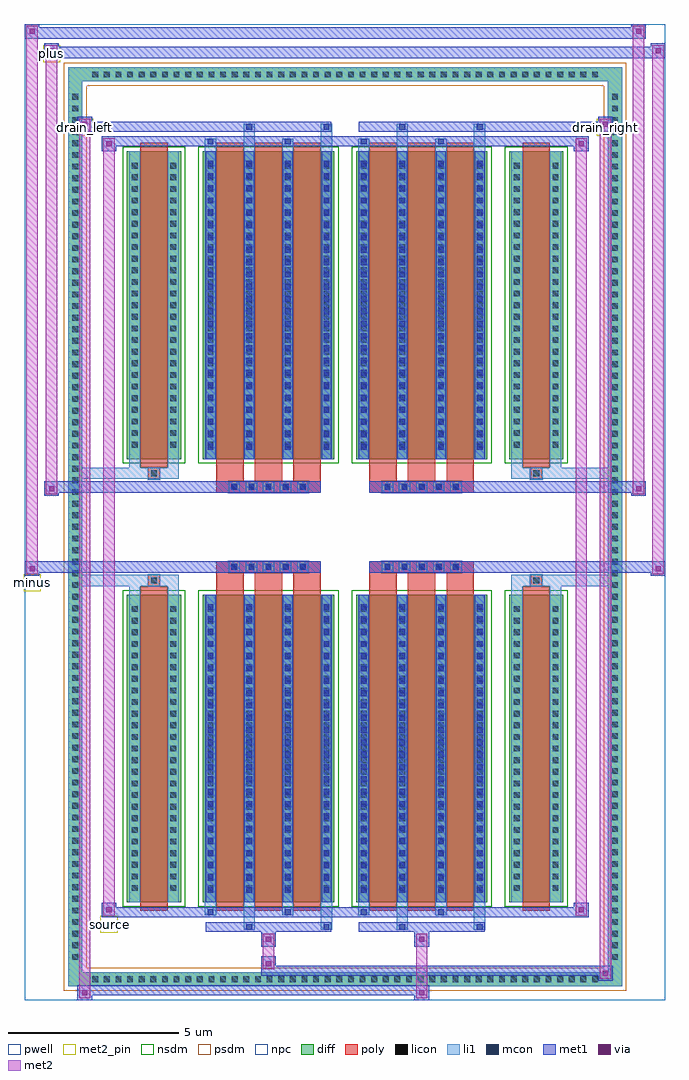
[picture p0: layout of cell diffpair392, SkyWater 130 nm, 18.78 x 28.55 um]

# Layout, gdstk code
import gdstk
lib = gdstk.Library(unit=1e-6, precision=5e-09)
def R(c, l, rs):  # rectangles x0, y0, x1, y1
    for r in rs: c.add(gdstk.rectangle(r[:2], r[2:], *l))
def A(c, l, x, y, w, h, nx, ny, dx, dy):  # array of equal rectangles
    R(c, l, [(x+i*dx, y+j*dy, x+i*dx+w, y+j*dy+h) for i in range(nx) for j in range(ny)])
def P(c, l, *ps):  # polygons
    for p in ps: c.add(gdstk.Polygon(p, *l))
pwell = (64, 44)
diff = (65, 20)
poly = (66, 20)
licon = (66, 44)
li1 = (67, 20)
mcon = (67, 44)
met1 = (68, 20)
via = (68, 44)
met2_pin = (69, 16)
met2 = (69, 20)
nsdm = (93, 44)
psdm = (94, 20)
npc = (95, 20)

diffpair392 = lib.new_cell('diffpair392')
R(diffpair392, pwell, [(-9.37,-13.84,9.37,14.71), (-6.69,-12.03,-0.01,-0.805), (0.01,-12.03,6.69,-0.805), (-6.69,0.805,-0.01,12.03), (0.01,0.805,6.69,12.03)])
A(diffpair392, diff, -7.515, -13.44, 0.41, 0.41, 44, 2, 0.34, 26.47)
A(diffpair392, diff, -8.1, -12.785, 0.41, 0.41, 1, 75, 0, 0.34)
A(diffpair392, diff, 7.69, -12.785, 0.41, 0.41, 1, 75, 0, 0.34)
R(diffpair392, diff, [(-7.515,-13.44,7.515,-13.03), (-8.1,-12.785,-7.69,12.785), (7.69,-12.785,8.1,12.785), (-6.38,-10.985,-4.8,-1.985), (-4.16,-10.985,-0.32,-1.985), (0.32,-10.985,4.16,-1.985), (4.8,-10.985,6.38,-1.985), (-6.38,1.985,-4.8,10.985), (-4.16,1.985,-0.32,10.985), (0.32,1.985,4.16,10.985), (4.8,1.985,6.38,10.985), (-7.515,13.03,7.515,13.44)])
P(diffpair392, diff, [(8.1,13.44),(-8.1,13.44),(-8.1,-13.03),(-7.69,-13.03),(-7.69,13.03),(7.69,13.03),(7.69,-13.03),(-7.69,-13.03),(-8.1,-13.03),(-8.1,-13.44),(8.1,-13.44)])
A(diffpair392, poly, -3.77, -11.235, 0.8, 9.5, 3, 2, 1.13, 12.97)
A(diffpair392, poly, 0.71, -11.235, 0.8, 9.5, 3, 2, 1.13, 12.97)
A(diffpair392, poly, -3.77, -1.735, 0.8, 0.4, 3, 2, 1.13, 3.07)
A(diffpair392, poly, 0.71, -1.735, 0.8, 0.4, 3, 2, 1.13, 3.07)
A(diffpair392, poly, -3.405, -1.335, 0.33, 0.33, 5, 2, 0.5, 2.34)
A(diffpair392, poly, 1.075, -1.335, 0.33, 0.33, 5, 2, 0.5, 2.34)
R(diffpair392, poly, [(-5.99,-11.235,-5.19,-1.735), (5.19,-11.235,5.99,-1.735), (-5.755,-1.735,-5.425,-1.405), (-5.755,-1.735,-5.425,-1.405), (5.425,-1.735,5.755,-1.405), (5.425,-1.735,5.755,-1.405), (-3.77,-1.335,-0.71,-1.005), (0.71,-1.335,3.77,-1.005), (-3.77,1.005,-0.71,1.335), (0.71,1.005,3.77,1.335), (-5.755,1.405,-5.425,1.735), (-5.755,1.405,-5.425,1.735), (5.425,1.405,5.755,1.735), (5.425,1.405,5.755,1.735), (-5.99,1.735,-5.19,11.235), (5.19,1.735,5.99,11.235)])
A(diffpair392, licon, -7.395, -13.32, 0.17, 0.17, 44, 2, 0.34, 26.47)
A(diffpair392, licon, -7.98, -12.665, 0.17, 0.17, 1, 75, 0, 0.34)
A(diffpair392, licon, 7.81, -12.665, 0.17, 0.17, 1, 75, 0, 0.34)
A(diffpair392, licon, -6.24, -10.65, 0.17, 0.17, 1, 25, 0, 0.34)
A(diffpair392, licon, -5.11, -10.65, 0.17, 0.17, 1, 25, 0, 0.34)
A(diffpair392, licon, -4.02, -10.65, 0.17, 0.17, 4, 25, 1.13, 0.34)
A(diffpair392, licon, 0.46, -10.65, 0.17, 0.17, 4, 25, 1.13, 0.34)
A(diffpair392, licon, 4.94, -10.65, 0.17, 0.17, 1, 25, 0, 0.34)
A(diffpair392, licon, 6.07, -10.65, 0.17, 0.17, 1, 25, 0, 0.34)
A(diffpair392, licon, -3.325, -1.255, 0.17, 0.17, 5, 2, 0.5, 2.34)
A(diffpair392, licon, 1.155, -1.255, 0.17, 0.17, 5, 2, 0.5, 2.34)
A(diffpair392, licon, -6.24, 2.32, 0.17, 0.17, 1, 25, 0, 0.34)
A(diffpair392, licon, -5.11, 2.32, 0.17, 0.17, 1, 25, 0, 0.34)
A(diffpair392, licon, -4.02, 2.32, 0.17, 0.17, 4, 25, 1.13, 0.34)
A(diffpair392, licon, 0.46, 2.32, 0.17, 0.17, 4, 25, 1.13, 0.34)
A(diffpair392, licon, 4.94, 2.32, 0.17, 0.17, 1, 25, 0, 0.34)
A(diffpair392, licon, 6.07, 2.32, 0.17, 0.17, 1, 25, 0, 0.34)
R(diffpair392, licon, [(-5.675,-1.655,-5.505,-1.485), (5.505,-1.655,5.675,-1.485), (-5.675,1.485,-5.505,1.655), (5.505,1.485,5.675,1.655)])
A(diffpair392, li1, -7.475, -13.4, 0.33, 0.33, 44, 2, 0.34, 26.47)
A(diffpair392, li1, -8.06, -12.745, 0.33, 0.33, 1, 75, 0, 0.34)
A(diffpair392, li1, 7.73, -12.745, 0.33, 0.33, 1, 75, 0, 0.34)
A(diffpair392, li1, -4.1, -10.985, 0.33, 9, 4, 2, 1.13, 12.97)
A(diffpair392, li1, 0.38, -10.985, 0.33, 9, 4, 2, 1.13, 12.97)
A(diffpair392, li1, -6.32, -10.73, 0.33, 0.33, 1, 25, 0, 0.34)
A(diffpair392, li1, -5.19, -10.73, 0.33, 0.33, 1, 25, 0, 0.34)
A(diffpair392, li1, -4.1, -10.73, 0.33, 0.33, 4, 25, 1.13, 0.34)
A(diffpair392, li1, 0.38, -10.73, 0.33, 0.33, 4, 25, 1.13, 0.34)
A(diffpair392, li1, 4.86, -10.73, 0.33, 0.33, 1, 25, 0, 0.34)
A(diffpair392, li1, 5.99, -10.73, 0.33, 0.33, 1, 25, 0, 0.34)
A(diffpair392, li1, -4.02, -10.71, 0.17, 0.17, 4, 24, 1.13, 0.36)
A(diffpair392, li1, -4.02, -10.71, 0.17, 8.45, 4, 2, 1.13, 12.97)
A(diffpair392, li1, 0.46, -10.71, 0.17, 0.17, 4, 24, 1.13, 0.36)
A(diffpair392, li1, 0.46, -10.71, 0.17, 8.45, 4, 2, 1.13, 12.97)
A(diffpair392, li1, -3.405, -1.335, 0.33, 0.33, 5, 2, 0.5, 2.34)
A(diffpair392, li1, 1.075, -1.335, 0.33, 0.33, 5, 2, 0.5, 2.34)
A(diffpair392, li1, -6.32, 2.24, 0.33, 0.33, 1, 25, 0, 0.34)
A(diffpair392, li1, -5.19, 2.24, 0.33, 0.33, 1, 25, 0, 0.34)
A(diffpair392, li1, -4.1, 2.24, 0.33, 0.33, 4, 25, 1.13, 0.34)
A(diffpair392, li1, 0.38, 2.24, 0.33, 0.33, 4, 25, 1.13, 0.34)
A(diffpair392, li1, 4.86, 2.24, 0.33, 0.33, 1, 25, 0, 0.34)
A(diffpair392, li1, 5.99, 2.24, 0.33, 0.33, 1, 25, 0, 0.34)
A(diffpair392, li1, -4.02, 2.26, 0.17, 0.17, 4, 24, 1.13, 0.36)
A(diffpair392, li1, 0.46, 2.26, 0.17, 0.17, 4, 24, 1.13, 0.36)
R(diffpair392, li1, [(-8.1,-13.44,-7.69,-13.03), (-8.1,-13.44,-7.69,-13.03), (-7.69,-13.44,7.69,-13.03), (7.69,-13.44,8.1,-13.03), (7.69,-13.44,8.1,-13.03), (-8.1,-13.03,-7.69,13.03), (7.69,-13.03,8.1,13.03), (-2.97,-11.79,-2.64,-10.985), (-2.89,-11.79,-2.72,-11.62), (-0.71,-11.79,-0.38,-10.985), (-0.63,-11.79,-0.46,-11.62), (1.51,-11.79,1.84,-10.985), (1.59,-11.79,1.76,-11.62), (3.77,-11.79,4.1,-10.985), (3.85,-11.79,4.02,-11.62), (-4.1,-11.36,-3.77,-10.985), (-4.02,-11.36,-3.85,-11.19), (-1.84,-11.36,-1.51,-10.985), (-1.76,-11.36,-1.59,-11.19), (0.38,-11.36,0.71,-10.985), (0.46,-11.36,0.63,-11.19), (2.64,-11.36,2.97,-10.985), (2.72,-11.36,2.89,-11.19), (-6.32,-10.985,-5.99,-1.985), (-5.19,-10.985,-4.86,-1.985), (4.86,-10.985,5.19,-1.985), (5.99,-10.985,6.32,-1.985), (-6.32,-1.985,-5.99,-1.405), (-5.19,-1.985,-4.86,-1.405), (4.86,-1.985,5.19,-1.405), (5.99,-1.985,6.32,-1.405), (-8.1,-1.735,-5.755,-1.405), (-6.32,-1.735,-5.755,-1.405), (-5.755,-1.735,-5.425,-1.405), (-5.425,-1.735,-4.86,-1.405), (4.86,-1.735,5.425,-1.405), (5.425,-1.735,5.755,-1.405), (5.425,-1.735,8.1,-1.405), (5.755,-1.735,6.32,-1.405), (-8.1,1.405,-5.755,1.735), (-6.32,1.405,-5.755,1.735), (-6.32,1.405,-5.99,1.985), (-5.755,1.405,-5.425,1.735), (-5.425,1.405,-4.86,1.735), (-5.19,1.405,-4.86,1.985), (4.86,1.405,5.425,1.735), (4.86,1.405,5.19,1.985), (5.425,1.405,5.755,1.735), (5.425,1.405,8.1,1.735), (5.755,1.405,6.32,1.735), (5.99,1.405,6.32,1.985), (-6.32,1.985,-5.99,10.985), (-5.19,1.985,-4.86,10.985), (4.86,1.985,5.19,10.985), (5.99,1.985,6.32,10.985), (-4.1,10.985,-3.77,11.36), (-2.97,10.985,-2.64,11.79), (-1.84,10.985,-1.51,11.36), (-0.71,10.985,-0.38,11.79), (0.38,10.985,0.71,11.36), (1.51,10.985,1.84,11.79), (2.64,10.985,2.97,11.36), (3.77,10.985,4.1,11.79), (-4.02,11.19,-3.85,11.36), (-1.76,11.19,-1.59,11.36), (0.46,11.19,0.63,11.36), (2.72,11.19,2.89,11.36), (-2.89,11.62,-2.72,11.79), (-0.63,11.62,-0.46,11.79), (1.59,11.62,1.76,11.79), (3.85,11.62,4.02,11.79), (-8.1,13.03,-7.69,13.44), (-8.1,13.03,-7.69,13.44), (-7.69,13.03,7.69,13.44), (7.69,13.03,8.1,13.44), (7.69,13.03,8.1,13.44)])
A(diffpair392, mcon, -4.02, -10.71, 0.17, 0.17, 4, 24, 1.13, 0.36)
A(diffpair392, mcon, 0.46, -10.71, 0.17, 0.17, 4, 24, 1.13, 0.36)
A(diffpair392, mcon, -3.325, -1.255, 0.17, 0.17, 5, 2, 0.5, 2.34)
A(diffpair392, mcon, 1.155, -1.255, 0.17, 0.17, 5, 2, 0.5, 2.34)
A(diffpair392, mcon, -4.02, 2.26, 0.17, 0.17, 4, 24, 1.13, 0.36)
A(diffpair392, mcon, 0.46, 2.26, 0.17, 0.17, 4, 24, 1.13, 0.36)
R(diffpair392, mcon, [(-2.89,-11.79,-2.72,-11.62), (-0.63,-11.79,-0.46,-11.62), (1.59,-11.79,1.76,-11.62), (3.85,-11.79,4.02,-11.62), (-4.02,-11.36,-3.85,-11.19), (-1.76,-11.36,-1.59,-11.19), (0.46,-11.36,0.63,-11.19), (2.72,-11.36,2.89,-11.19), (-4.02,11.19,-3.85,11.36), (-1.76,11.19,-1.59,11.36), (0.46,11.19,0.63,11.36), (2.72,11.19,2.89,11.36), (-2.89,11.62,-2.72,11.79), (-0.63,11.62,-0.46,11.79), (1.59,11.62,1.76,11.79), (3.85,11.62,4.02,11.79)])
A(diffpair392, met1, -4.08, -10.985, 0.29, 9, 4, 2, 1.13, 12.97)
A(diffpair392, met1, 0.4, -10.985, 0.29, 9, 4, 2, 1.13, 12.97)
A(diffpair392, met1, -4.08, -10.77, 0.29, 0.29, 4, 24, 1.13, 0.36)
A(diffpair392, met1, 0.4, -10.77, 0.29, 0.29, 4, 24, 1.13, 0.36)
A(diffpair392, met1, -3.385, -1.315, 0.29, 0.29, 5, 2, 0.5, 2.34)
A(diffpair392, met1, 1.095, -1.315, 0.29, 0.29, 5, 2, 0.5, 2.34)
A(diffpair392, met1, -4.08, 2.2, 0.29, 0.29, 4, 24, 1.13, 0.36)
A(diffpair392, met1, 0.4, 2.2, 0.29, 0.29, 4, 24, 1.13, 0.36)
R(diffpair392, met1, [(-7.83,-13.84,-7.4,-13.41), (2.025,-13.84,2.455,-13.41), (-7.83,-13.7,2.455,-13.41), (7.4,-13.27,7.83,-12.84), (-2.455,-13.13,7.83,-12.84), (-2.455,-12.99,-2.025,-12.56), (-2.455,-12.28,-2.025,-11.85), (2.025,-12.28,2.455,-11.85), (-4.08,-11.85,-0.4,-11.56), (-2.95,-11.85,-2.66,-11.56), (-0.69,-11.85,-0.4,-11.56), (0.4,-11.85,4.08,-11.56), (1.53,-11.85,1.82,-11.56), (3.79,-11.85,4.08,-11.56), (-7.12,-11.42,-6.69,-10.99), (-7.12,-11.42,-4.08,-11.13), (-4.08,-11.42,-3.79,-11.13), (-4.08,-11.42,-0.4,-11.13), (-1.82,-11.42,-1.53,-11.13), (-0.4,-11.42,0.4,-11.13), (0.4,-11.42,0.69,-11.13), (0.4,-11.42,4.08,-11.13), (2.66,-11.42,2.95,-11.13), (4.08,-11.42,7.12,-11.13), (6.69,-11.42,7.12,-10.99), (-9.37,-1.435,-8.94,-1.005), (8.94,-1.435,9.37,-1.005), (-9.37,-1.335,-0.71,-1.005), (-3.77,-1.335,-0.71,-1.005), (0.71,-1.335,3.77,-1.005), (0.71,-1.335,9.37,-1.005), (-8.8,0.905,-8.37,1.335), (8.37,0.905,8.8,1.335), (-8.8,1.005,-3.77,1.335), (-3.77,1.005,-0.71,1.335), (0.71,1.005,3.77,1.335), (3.77,1.005,8.8,1.335), (-7.12,10.99,-6.69,11.42), (6.69,10.99,7.12,11.42), (-7.12,11.13,-4.08,11.42), (-4.08,11.13,-3.79,11.42), (-4.08,11.13,-0.4,11.42), (-1.82,11.13,-1.53,11.42), (-0.4,11.13,0.4,11.42), (0.4,11.13,0.69,11.42), (0.4,11.13,4.08,11.42), (2.66,11.13,2.95,11.42), (4.08,11.13,7.12,11.42), (-7.83,11.56,-7.4,11.99), (-7.83,11.56,-4.08,11.85), (-4.08,11.56,-0.4,11.85), (-2.95,11.56,-2.66,11.85), (-0.69,11.56,-0.4,11.85), (0.4,11.56,4.08,11.85), (1.53,11.56,1.82,11.85), (3.79,11.56,4.08,11.85), (4.08,11.56,7.83,11.85), (7.4,11.56,7.83,11.99), (-8.8,13.71,-8.37,14.14), (-8.8,13.71,-6.69,14.04), (-6.69,13.71,6.69,14.04), (6.69,13.71,9.37,14.04), (8.94,13.71,9.37,14.14), (-9.37,14.28,-8.94,14.71), (-9.37,14.28,-6.69,14.61), (-6.69,14.28,6.69,14.61), (6.69,14.28,8.8,14.61), (8.37,14.28,8.8,14.71)])
R(diffpair392, via, [(-7.69,-13.7,-7.54,-13.55), (2.165,-13.7,2.315,-13.55), (7.54,-13.13,7.69,-12.98), (-2.315,-12.85,-2.165,-12.7), (-2.315,-12.14,-2.165,-11.99), (2.165,-12.14,2.315,-11.99), (-6.98,-11.28,-6.83,-11.13), (6.83,-11.28,6.98,-11.13), (-9.23,-1.295,-9.08,-1.145), (9.08,-1.295,9.23,-1.145), (-8.66,1.045,-8.51,1.195), (8.51,1.045,8.66,1.195), (-6.98,11.13,-6.83,11.28), (6.83,11.13,6.98,11.28), (-7.69,11.7,-7.54,11.85), (7.54,11.7,7.69,11.85), (-8.66,13.85,-8.51,14), (9.08,13.85,9.23,14), (-9.23,14.42,-9.08,14.57), (8.51,14.42,8.66,14.57)])
R(diffpair392, met2_pin, [(-7.155,-11.87,-6.655,-11.37), (-9.405,-1.885,-8.905,-1.385), (-7.865,11.44,-7.365,11.94), (7.365,11.44,7.865,11.94), (-8.835,13.59,-8.335,14.09)])
R(diffpair392, met2, [(-7.78,-13.79,-7.45,-13.46), (-7.78,-13.79,-7.45,11.94), (2.075,-13.79,2.405,-13.46), (2.075,-13.46,2.405,-12.23), (7.45,-13.22,7.78,-12.89), (7.45,-13.22,7.78,11.94), (-2.405,-12.94,-2.075,-12.61), (-2.405,-12.61,-2.075,-12.23), (-2.405,-12.23,-2.075,-11.9), (2.075,-12.23,2.405,-11.9), (-7.07,-11.37,-6.74,-11.04), (-7.07,-11.37,-6.74,11.37), (6.74,-11.37,7.07,-11.04), (6.74,-11.37,7.07,11.37), (-9.32,-1.385,-8.99,-1.055), (-9.32,-1.385,-8.99,14.66), (8.99,-1.385,9.32,-1.055), (8.99,-1.385,9.32,14.09), (-8.75,0.955,-8.42,1.285), (-8.75,0.955,-8.42,14.09), (8.42,0.955,8.75,1.285), (8.42,0.955,8.75,14.66), (-7.07,11.04,-6.74,11.37), (6.74,11.04,7.07,11.37), (-7.78,11.61,-7.45,11.94), (7.45,11.61,7.78,11.94), (-8.75,13.76,-8.42,14.09), (8.99,13.76,9.32,14.09), (-9.32,14.33,-8.99,14.66), (8.42,14.33,8.75,14.66)])
P(diffpair392, met2, [(9.32,-1.385),(9.32,-1.385),(9.32,-1.055),(9.32,-1.055)],
  [(9.32,13.76),(9.32,13.76),(9.32,14.09),(9.32,14.09)],
  [(-8.99,-1.385),(-8.99,-1.385),(-8.99,-1.055),(-8.99,-1.055)],
  [(-8.99,14.33),(-8.99,14.33),(-8.99,14.66),(-8.99,14.66)],
  [(8.75,0.955),(8.75,0.955),(8.75,1.285),(8.75,1.285)],
  [(8.75,14.33),(8.75,14.33),(8.75,14.66),(8.75,14.66)],
  [(-8.42,0.955),(-8.42,0.955),(-8.42,1.285),(-8.42,1.285)],
  [(-8.42,13.76),(-8.42,13.76),(-8.42,14.09),(-8.42,14.09)],
  [(-7.45,-13.79),(-7.45,-13.79),(-7.45,-13.46),(-7.45,-13.46)],
  [(-7.45,11.61),(-7.45,11.61),(-7.45,11.94),(-7.45,11.94)],
  [(7.78,-13.22),(7.78,-13.22),(7.78,-12.89),(7.78,-12.89)],
  [(7.78,11.61),(7.78,11.61),(7.78,11.94),(7.78,11.94)],
  [(-6.74,-11.37),(-6.74,-11.37),(-6.74,-11.04),(-6.74,-11.04)],
  [(-6.74,11.04),(-6.74,11.04),(-6.74,11.37),(-6.74,11.37)],
  [(7.07,-11.37),(7.07,-11.37),(7.07,-11.04),(7.07,-11.04)],
  [(7.07,11.04),(7.07,11.04),(7.07,11.37),(7.07,11.37)])
R(diffpair392, nsdm, [(-6.51,-11.115,-4.67,-1.855), (-4.29,-11.115,-0.19,-1.855), (0.19,-11.115,4.29,-1.855), (4.67,-11.115,6.51,-1.855), (-6.51,1.855,-4.67,11.115), (-4.29,1.855,-0.19,11.115), (0.19,1.855,4.29,11.115), (4.67,1.855,6.51,11.115)])
P(diffpair392, psdm, [(8.23,13.57),(-8.23,13.57),(-8.23,-12.9),(-7.56,-12.9),(-7.56,12.9),(7.56,12.9),(7.56,-12.9),(-7.56,-12.9),(-8.23,-12.9),(-8.23,-13.57),(8.23,-13.57)])
A(diffpair392, npc, -3.425, -1.355, 0.37, 0.37, 5, 2, 0.5, 2.34)
A(diffpair392, npc, 1.055, -1.355, 0.37, 0.37, 5, 2, 0.5, 2.34)
R(diffpair392, npc, [(-5.775,-1.755,-5.405,-1.385), (5.405,-1.755,5.775,-1.385), (-3.425,-1.355,-2.555,-0.985), (-3.425,-1.355,-2.555,-0.985), (-2.925,-1.355,-2.055,-0.985), (-2.925,-1.355,-2.055,-0.985), (-2.425,-1.355,-1.555,-0.985), (-2.425,-1.355,-1.555,-0.985), (-1.925,-1.355,-1.055,-0.985), (-1.925,-1.355,-1.055,-0.985), (1.055,-1.355,1.925,-0.985), (1.055,-1.355,1.925,-0.985), (1.555,-1.355,2.425,-0.985), (1.555,-1.355,2.425,-0.985), (2.055,-1.355,2.925,-0.985), (2.055,-1.355,2.925,-0.985), (2.555,-1.355,3.425,-0.985), (2.555,-1.355,3.425,-0.985), (-3.425,0.985,-2.555,1.355), (-3.425,0.985,-2.555,1.355), (-2.925,0.985,-2.055,1.355), (-2.925,0.985,-2.055,1.355), (-2.425,0.985,-1.555,1.355), (-2.425,0.985,-1.555,1.355), (-1.925,0.985,-1.055,1.355), (-1.925,0.985,-1.055,1.355), (1.055,0.985,1.925,1.355), (1.055,0.985,1.925,1.355), (1.555,0.985,2.425,1.355), (1.555,0.985,2.425,1.355), (2.055,0.985,2.925,1.355), (2.055,0.985,2.925,1.355), (2.555,0.985,3.425,1.355), (2.555,0.985,3.425,1.355), (-5.775,1.385,-5.405,1.755), (5.405,1.385,5.775,1.755)])
diffpair392.add(gdstk.Label('minus', (-9.155,-1.635), layer=69, texttype=5))
diffpair392.add(gdstk.Label('drain_right', (7.615,11.69), layer=69, texttype=5))
diffpair392.add(gdstk.Label('drain_left', (-7.615,11.69), layer=69, texttype=5))
diffpair392.add(gdstk.Label('source', (-6.905,-11.62), layer=69, texttype=5))
diffpair392.add(gdstk.Label('plus', (-8.585,13.84), layer=69, texttype=5))

lib.write_gds('diffpair392.gds')
